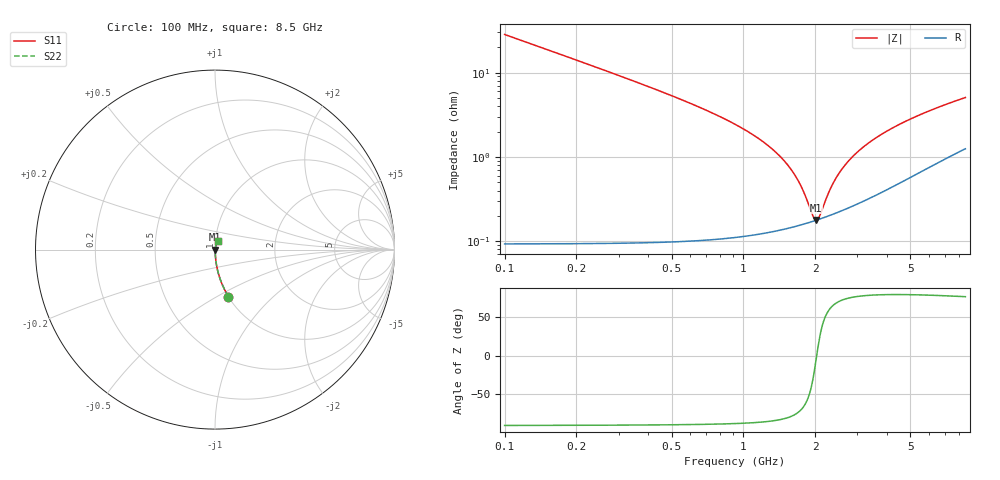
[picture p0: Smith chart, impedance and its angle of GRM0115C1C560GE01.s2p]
!Murata Part Number: GRM0115C1C560GE01
!These Parameters are Measured in Series Mode Connection
!Data Generated on Mar 30, 2021
!  o--ll--o
!Port1  Port2
!  o------o
!Operation Temp=25[degC], DC Bias Voltage=0[V]
!Freq. Start=100[MHz] Stop=9[GHz] 401[Steps]
# Hz S RI R 50
!Freq.(Hz) S11(Real) S11(Imag) S21(Real) S21(Imag) S12(Real) S12(Imag) S22(Real) S22(Imag)
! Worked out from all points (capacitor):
!   401 points, 100 MHz to 8.5 GHz, reference 50 ohm
!   read as one part in series: C = 56 pF near 142 MHz
!   lowest |Z| = 178 mohm at 2.011 GHz (marker M1)
!   series resonance near 2.027 GHz, so ESL is about 110 pH
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1e8  0.0751 -0.262  0.9249 0.262  0.9249 0.262  0.0751 -0.262
2.05e8  0.0194 -0.1344  0.9806 0.1344  0.9806 0.1344  0.0194 -0.1344
2.68e8  0.0116 -0.1029  0.9884 0.1029  0.9884 0.1029  0.0116 -0.1029
3.52e8  0.00703 -0.0777  0.993 0.0777  0.993 0.0777  0.00703 -0.0777
4.57e8  0.00443 -0.0587  0.9956 0.0587  0.9956 0.0587  0.00443 -0.0587
6.88e8  0.00235 -0.0364  0.9976 0.0364  0.9976 0.0364  0.00235 -0.0364
1.255e9  0.00145 -0.0139  0.9985 0.0139  0.9985 0.0139  0.00145 -0.0139
1.507e9  0.00147 -0.00837  0.9985 0.00837  0.9985 0.00837  0.00147 -0.00837
1.696e9  0.00155 -0.00498  0.9984 0.00498  0.9984 0.00498  0.00155 -0.00498
1.801e9  0.00161 -0.00329  0.9984 0.00329  0.9984 0.00329  0.00161 -0.00329
1.948e9  0.00172 -0.0011  0.9983 0.0011  0.9983 0.0011  0.00172 -0.0011
2.011e9  0.00177 -0.000216  0.9982 0.000216  0.9982 0.000216  0.00177 -0.000216
2.074e9  0.00182 0.000639  0.9982 -0.000639  0.9982 -0.000639  0.00182 0.000639
2.284e9  0.00202 0.00331  0.998 -0.00331  0.998 -0.00331  0.00202 0.00331
2.452e9  0.00219 0.00529  0.9978 -0.00529  0.9978 -0.00529  0.00219 0.00529
2.662e9  0.00244 0.0076  0.9976 -0.0076  0.9976 -0.0076  0.00244 0.0076
2.914e9  0.00276 0.0102  0.9972 -0.0102  0.9972 -0.0102  0.00276 0.0102
3.502e9  0.00363 0.0156  0.9964 -0.0156  0.9964 -0.0156  0.00363 0.0156
4.3e9  0.00503 0.0221  0.995 -0.0221  0.995 -0.0221  0.00503 0.0221
5.707e9  0.00795 0.032  0.992 -0.032  0.992 -0.032  0.00795 0.032
7.114e9  0.0113 0.0405  0.9887 -0.0405  0.9887 -0.0405  0.0113 0.0405
8.5e9  0.0147 0.0478  0.9853 -0.0478  0.9853 -0.0478  0.0147 0.0478
